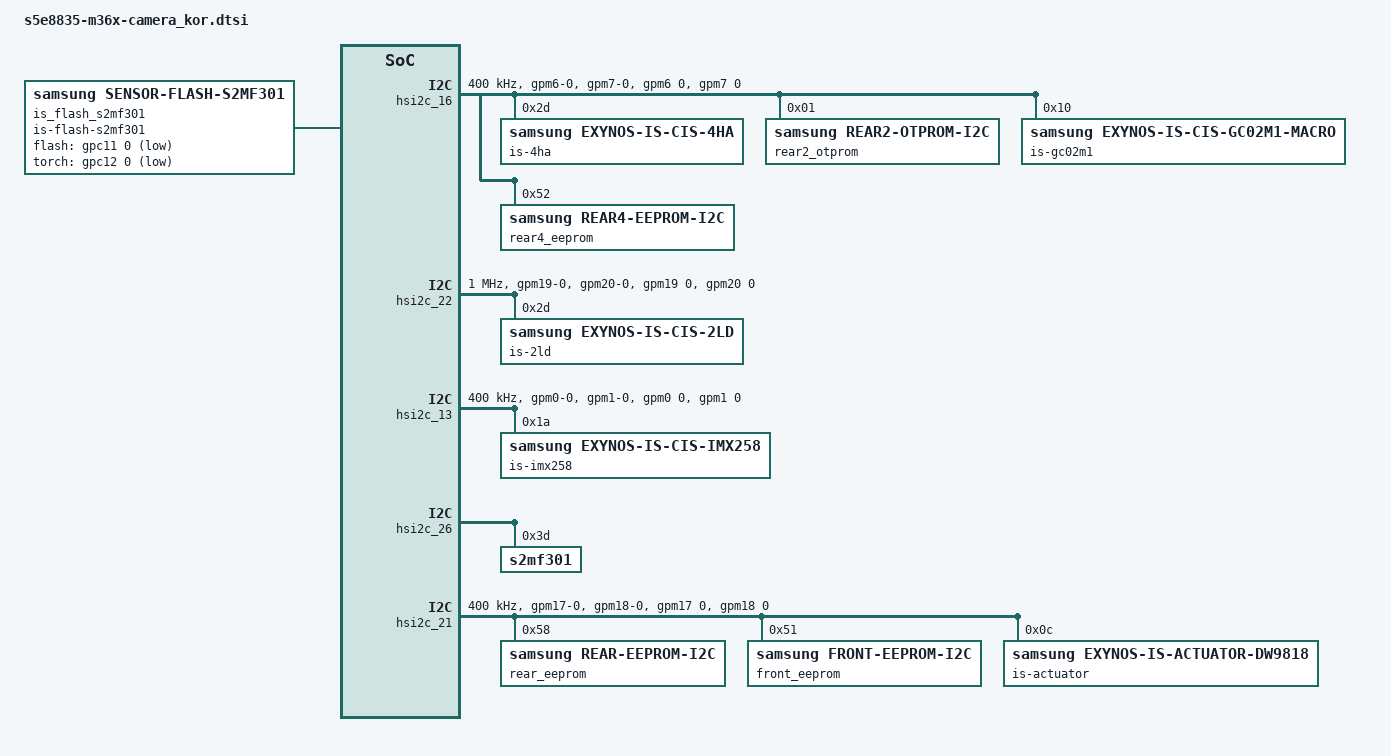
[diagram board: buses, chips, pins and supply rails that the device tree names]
/*
 * Samsung Exynos SoC series Pablo driver
 *
 * Copyright (c) 2024 Samsung Electronics Co., Ltd
 *
 * This program is free software; you can redistribute it and/or modify
 * it under the terms of the GNU General Public License version 2 as
 * published by the Free Software Foundation.
 */

#include <dt-bindings/camera/exynos_is_dt.h>
#include "module_2ld.dtsi"	/* Wide CAMERA */
#include "module_imx258.dtsi"	/* Front CAMERA */
#include "module_4ha.dtsi"	/* UW CAMERA */
#include "module_gc02m1.dtsi"	/* Macro CAMERA */

/ {
	fragment@camera {
		target-path = "/";
		__overlay__ {
			#address-cells = <2>;
			#size-cells = <1>;
			interrupt-parent = <&gic>;

			/* Wide CAMERA */
			is_sensor_2ld: is_sensor_2ld@5A {
				pinctrl-names = "pin0", "pin1", "pin2", "release";
				pinctrl-0 = <>;
				pinctrl-1 = <&sensor_mclk0_out>;
				pinctrl-2 = <&sensor_mclk0_fn>;
				pinctrl-3 = <>;

				/* board */
				position = <0>; /* Rear:0. Front:1, Tele:2 */
				id = <0>; /* is_sensor id */
				mclk_ch = <0>;
				sensor_i2c_ch = <0>; /* SENSOR_CONTROL_I2C0 */

				af {
					product_name = <33>; /* ACTUATOR_NAME_DW9818*/
					i2c_ch = <3>; /* SENSOR_CONTROL_I2C3 */
				};

				flash {
					product_name = <19>; /* S2MF301 */
				};

				preprocessor {
					product_name = <100>; /* NOTHING */
				};

				power_seq {
					scenario_normal_on {
						20 { pname = "VDD_VT_UW_MACRO_A2P8"; pin = <PIN_OUTPUT 1 0 1000>; gpio = <&gpm12 0 0x1>; share = <SRT_ACQUIRE SHARED_PIN1 1>; };
						30 { pname = "vdd_ldo22"; pin = <PIN_REGULATOR 1 1000>; share = <SRT_ACQUIRE SHARED_PIN0 1>; };
						35 { pname = "VDDIO_RCAM1_1P8"; pin = <PIN_OUTPUT 1 0>; gpio = <&s2mpu16_gpio 9 0x1>; };
					};

					scenario_vision_on {
						20 { pname = "VDD_VT_UW_MACRO_A2P8"; pin = <PIN_OUTPUT 1 0 1000>; gpio = <&gpm12 0 0x1>; share = <SRT_ACQUIRE SHARED_PIN1 1>; };
						30 { pname = "vdd_ldo22"; pin = <PIN_REGULATOR 1 1000>; share = <SRT_ACQUIRE SHARED_PIN0 1>; };
						35 { pname = "VDDIO_RCAM1_1P8"; pin = <PIN_OUTPUT 1 0>; gpio = <&s2mpu16_gpio 9 0x1>; };
					};

					scenario_normal_off {
						85 { pname = "VDDIO_RCAM1_1P8"; pin = <PIN_OUTPUT 0 0>; gpio = <&s2mpu16_gpio 9 0x1>; };
						90 { pname = "vdd_ldo22"; pin = <PIN_REGULATOR 0 0>; share = <SRT_RELEASE SHARED_PIN0 0>; };
						100 { pname = "VDD_VT_UW_MACRO_A2P8"; pin = <PIN_OUTPUT 0 1000>; gpio = <&gpm12 0 0x1>; share = <SRT_RELEASE SHARED_PIN1 0>; };
					};

					scenario_vision_off {
						85 { pname = "VDDIO_RCAM1_1P8"; pin = <PIN_OUTPUT 0 0>; gpio = <&s2mpu16_gpio 9 0x1>; };
						90 { pname = "vdd_ldo22"; pin = <PIN_REGULATOR 0 0>; share = <SRT_RELEASE SHARED_PIN0 0>; };
						100 { pname = "VDD_VT_UW_MACRO_A2P8"; pin = <PIN_OUTPUT 0 1000>; gpio = <&gpm12 0 0x1>; share = <SRT_RELEASE SHARED_PIN1 0>; };
					};

					scenario_retention_on {
						90 { pname = "vdd_ldo22"; pin = <PIN_REGULATOR 0 0>; share = <SRT_RELEASE SHARED_PIN0 0>; };
						100 { pname = "VDD_VT_UW_MACRO_A2P8"; pin = <PIN_OUTPUT 0 1000>; gpio = <&gpm12 0 0x1>; share = <SRT_RELEASE SHARED_PIN1 0>; };
					};

					scenario_read_rom_on {
						10 { pname = "VDD_VT_UW_MACRO_A2P8"; pin = <PIN_OUTPUT 1 0 1000>; gpio = <&gpm12 0 0x1>; share = <SRT_ACQUIRE SHARED_PIN1 1>; };
						20 { pname = "vdd_ldo22"; pin = <PIN_REGULATOR 1 1000>; share = <SRT_ACQUIRE SHARED_PIN0 1>; };
						25 { pname = "VDDIO_RCAM1_1P8"; pin = <PIN_OUTPUT 1 0>; gpio = <&s2mpu16_gpio 9 0x1>; };
					};

					scenario_read_rom_off {
						25 { pname = "VDDIO_RCAM1_1P8"; pin = <PIN_OUTPUT 0 0>; gpio = <&s2mpu16_gpio 9 0x1>; };
						30 { pname = "vdd_ldo22"; pin = <PIN_REGULATOR 0 0>; share = <SRT_RELEASE SHARED_PIN0 0>; };
						40 { pname = "VDD_VT_UW_MACRO_A2P8"; pin = <PIN_OUTPUT 0 1000>; gpio = <&gpm12 0 0x1>; share = <SRT_RELEASE SHARED_PIN1 0>; };
					};
				};
			};

			/* FRONT CAMERA */
			is_sensor_imx258: is_sensor_imx258@1A {
				pinctrl-names = "pin0", "pin1", "pin2", "release";
				pinctrl-0 = <>;
				pinctrl-1 = <&sensor_mclk2_out>;
				pinctrl-2 = <&sensor_mclk2_fn>;
				pinctrl-3 = <>;

				/* board */
				position = <1>;	/* Rear:0. Front:1. Rear_sub:2. Secure:3. */
				id = <1>; /* is_sensor id */
				mclk_ch = <2>;
				sensor_i2c_ch = <1>; /* SENSOR_CONTROL_I2C1 */

				power_seq {
					scenario_normal_on {
						20 { pname = "VDD_VT_UW_MACRO_A2P8"; pin = <PIN_OUTPUT 1 0 1000>; gpio = <&gpm12 0 0x1>; share = <SRT_ACQUIRE SHARED_PIN1 1>; };
						40 { pname = "vdd_ldo22"; pin = <PIN_REGULATOR 1 1000>; share = <SRT_ACQUIRE SHARED_PIN0 1>; };
					};

					scenario_normal_off {
						70 { pname = "vdd_ldo22"; pin = <PIN_REGULATOR 0 500>; share = <SRT_RELEASE SHARED_PIN0 0>; };
						90 { pname = "VDD_VT_UW_MACRO_A2P8"; pin = <PIN_OUTPUT 0 1000>; gpio = <&gpm12 0 0x1>; share = <SRT_RELEASE SHARED_PIN1 0>; };
					};

					scenario_vision_on {
						20 { pname = "VDD_VT_UW_MACRO_A2P8"; pin = <PIN_OUTPUT 1 0 1000>; gpio = <&gpm12 0 0x1>; share = <SRT_ACQUIRE SHARED_PIN1 1>; };
						40 { pname = "vdd_ldo22"; pin = <PIN_REGULATOR 1 1000>; share = <SRT_ACQUIRE SHARED_PIN0 1>; };
					};

					scenario_vision_off {
						70 { pname = "vdd_ldo22"; pin = <PIN_REGULATOR 0 500>; share = <SRT_RELEASE SHARED_PIN0 0>; };
						90 { pname = "VDD_VT_UW_MACRO_A2P8"; pin = <PIN_OUTPUT 0 1000>; gpio = <&gpm12 0 0x1>; share = <SRT_RELEASE SHARED_PIN1 0>; };
					};

					scenario_read_rom_on {
						10 { pname = "VDD_VT_UW_MACRO_A2P8"; pin = <PIN_OUTPUT 1 0 1000>; gpio = <&gpm12 0 0x1>; share = <SRT_ACQUIRE SHARED_PIN1 1>; };
						20 { pname = "vdd_ldo22"; pin = <PIN_REGULATOR 1 1000>; share = <SRT_ACQUIRE SHARED_PIN0 1>; };
					};

					scenario_read_rom_off {
						20 { pname = "vdd_ldo22"; pin = <PIN_REGULATOR 0 0>; share = <SRT_RELEASE SHARED_PIN0 0>; };
						30 { pname = "VDD_VT_UW_MACRO_A2P8"; pin = <PIN_OUTPUT 0 1000>; gpio = <&gpm12 0 0x1>; share = <SRT_RELEASE SHARED_PIN1 0>; };
					};
				};
			};

			/* UW CAMERA */
			is_sensor_4ha: is_sensor_4ha@2D {
				pinctrl-names = "pin0", "pin1", "pin2", "release";
				pinctrl-0 = <>;
				pinctrl-1 = <&sensor_mclk2_out>;
				pinctrl-2 = <&sensor_mclk2_fn>;
				pinctrl-3 = <>;

				/* board */
				position = <4>;	/* Rear:0. Front:1. Rear_sub:2. Secure:3. */
				id = <4>; /* is_sensor id */
				mclk_ch = <2>;
				sensor_i2c_ch = <2>; /* SENSOR_CONTROL_I2C2 */

				power_seq {
					scenario_normal_on {
						20 { pname = "VDD_VT_UW_MACRO_A2P8"; pin = <PIN_OUTPUT 1 0 2800000>; gpio = <&gpm12 0 0x1>; share = <SRT_ACQUIRE SHARED_PIN1 1>; };
						40 { pname = "vdd_ldo22"; pin = <PIN_REGULATOR 1 0>; share = <SRT_ACQUIRE SHARED_PIN0 1>; };
					};

					scenario_normal_off {
						70 { pname = "vdd_ldo22"; pin = <PIN_REGULATOR 0 500>; share = <SRT_RELEASE SHARED_PIN0 0>; };
						90 { pname = "VDD_VT_UW_MACRO_A2P8"; pin = <PIN_OUTPUT 0 0>; gpio = <&gpm12 0 0x1>; share = <SRT_RELEASE SHARED_PIN1 0>; };
					};

					scenario_vision_on {
						20 { pname = "VDD_VT_UW_MACRO_A2P8"; pin = <PIN_OUTPUT 1 0 2800000>; gpio = <&gpm12 0 0x1>; share = <SRT_ACQUIRE SHARED_PIN1 1>; };
						40 { pname = "vdd_ldo22"; pin = <PIN_REGULATOR 1 0>; share = <SRT_ACQUIRE SHARED_PIN0 1>; };
					};

					scenario_vision_off {
						70 { pname = "vdd_ldo22"; pin = <PIN_REGULATOR 0 500>; share = <SRT_RELEASE SHARED_PIN0 0>; };
						90 { pname = "VDD_VT_UW_MACRO_A2P8"; pin = <PIN_OUTPUT 0 0>; gpio = <&gpm12 0 0x1>; share = <SRT_RELEASE SHARED_PIN1 0>; };
					};

					scenario_read_rom_on {
						20 { pname = "VDD_VT_UW_MACRO_A2P8"; pin = <PIN_OUTPUT 1 0 2800000>; gpio = <&gpm12 0 0x1>; share = <SRT_ACQUIRE SHARED_PIN1 1>; };
						40 { pname = "vdd_ldo22"; pin = <PIN_REGULATOR 1 0>; share = <SRT_ACQUIRE SHARED_PIN0 1>; };
					};

					scenario_read_rom_off {
						70 { pname = "vdd_ldo22"; pin = <PIN_REGULATOR 0 500>; share = <SRT_RELEASE SHARED_PIN0 0>; };
						90 { pname = "VDD_VT_UW_MACRO_A2P8"; pin = <PIN_OUTPUT 0 0>; gpio = <&gpm12 0 0x1>; share = <SRT_RELEASE SHARED_PIN1 0>; };
					};
				};
			};

			/* MACRO CAMERA */
			is_sensor_gc02m1_macro: is_sensor_gc02m1_macro@20 {
				pinctrl-names = "pin0", "pin1", "pin2", "release";
				pinctrl-0 = <>;
				pinctrl-1 = <&sensor_mclk1_out>;
				pinctrl-2 = <&sensor_mclk1_fn>;
				pinctrl-3 = <>;

				/* board */
				position = <6>;	/* Rear:0. Front:1. Rear_sub:2. Secure:3. */
				id = <3>; /* is_sensor id */
				mclk_ch = <1>;
				sensor_i2c_ch = <2>; /* SENSOR_CONTROL_I2C2 */

				flash {
					product_name = <19>; /* S2MF301 */
				};

				power_seq {
					scenario_normal_on {
						20 { pname = "vdd_ldo22"; pin = <PIN_REGULATOR 1 1000>; share = <SRT_ACQUIRE SHARED_PIN0 1>; };
						40 { pname = "VDD_VT_UW_MACRO_A2P8"; pin = <PIN_OUTPUT 1 0>; gpio = <&gpm12 0 0x1>; share = <SRT_ACQUIRE SHARED_PIN1 1>; };
					};

					scenario_normal_off {
						30 { pname = "vdd_ldo22"; pin = <PIN_REGULATOR 0 500>; share = <SRT_RELEASE SHARED_PIN0 0>; };
						50 { pname = "VDD_VT_UW_MACRO_A2P8"; pin = <PIN_OUTPUT 0 0>; gpio = <&gpm12 0 0x1>; share = <SRT_RELEASE SHARED_PIN1 0>; };
					};

					scenario_vision_on {
						20 { pname = "vdd_ldo22"; pin = <PIN_REGULATOR 1 1000>; share = <SRT_ACQUIRE SHARED_PIN0 1>; };
						40 { pname = "VDD_VT_UW_MACRO_A2P8"; pin = <PIN_OUTPUT 1 0>; gpio = <&gpm12 0 0x1>; share = <SRT_ACQUIRE SHARED_PIN1 1>; };
					};

					scenario_vision_off {
						30 { pname = "vdd_ldo22"; pin = <PIN_REGULATOR 0 500>; share = <SRT_RELEASE SHARED_PIN0 0>; };
						50 { pname = "VDD_VT_UW_MACRO_A2P8"; pin = <PIN_OUTPUT 0 0>; gpio = <&gpm12 0 0x1>; share = <SRT_RELEASE SHARED_PIN1 0>; };
					};

					scenario_read_rom_on {
						10 { pname = "vdd_ldo22"; pin = <PIN_REGULATOR 1 1000>; share = <SRT_ACQUIRE SHARED_PIN0 1>; };
						20 { pname = "VDD_VT_UW_MACRO_A2P8"; pin = <PIN_OUTPUT 1 0>; gpio = <&gpm12 0 0x1>; share = <SRT_ACQUIRE SHARED_PIN1 1>; };
					};

					scenario_read_rom_off {
						20 { pname = "vdd_ldo22"; pin = <PIN_REGULATOR 0 500>; share = <SRT_RELEASE SHARED_PIN0 0>; };
						30 { pname = "VDD_VT_UW_MACRO_A2P8"; pin = <PIN_OUTPUT 0 0>; gpio = <&gpm12 0 0x1>; share = <SRT_RELEASE SHARED_PIN1 0>; };
					};
				};
			};

			is_flash_s2mf301: is-flash-s2mf301@0 {
				compatible = "samsung,sensor-flash-s2mf301";
				sensor-module = <&is_sensor_2ld>,<&is_sensor_gc02m1_macro>;
				id = <0 3>;
				led_ch = <1>;
				status = "okay";
				flash-gpio = <&gpc11 0 0x1>;
				torch-gpio = <&gpc12 0 0x1>;
			};

			/* dphy_setfile settings taken from A54x */
			dphy_setfile_m35x_1: dphy-setfile_m35x_1@00 {
				comm {
					/* bias */
					0  = <0x1000 0 32 0x00000010 IDX_BIA_VAL 0>; /* M_BIAS_CON0 */
					1  = <0x1004 0 32 0x00000110 IDX_BIA_VAL 0>; /* M_BIAS_CON1 */
					2  = <0x1008 0 32 0x00003223 IDX_BIA_VAL 0>; /* M_BIAS_CON2 */
					3  = <0x1010 0 32 0x00000200 IDX_BIA_VAL 0>; /* M_BIAS_CON4 */
					4  = <0x1114 0 32 0x00000500 IDX_BIA_VAL 0>; /* M_PLL_CON5 */
					5  = <0x1118 0 32 0x00000000 IDX_BIA_VAL 0>; /* M_PLL_CON6 */
					6  = <0x111C 0 32 0x000028A0 IDX_BIA_VAL 0>; /* M_PLL_CON7 */
					7  = <0x1120 0 32 0x00001450 IDX_BIA_VAL 0>; /* M_PLL_CON8 */
					8  = <0x1124 0 32 0x00001208 IDX_BIA_VAL 0>; /* M_PLL_CON9 */

					/* Clock lane */
					9 = <0x0004 0 32 0x000028A0 IDX_FIX_VAL 0>; /* SC_GNR_CON1 */
					10 = <0x0008 0 32 0x00000001 IDX_FIX_VAL 0>; /* SC_ANA_CON0 */
					11 = <0x000C 0 32 0x0000E840 IDX_FIX_VAL 0>; /* SC_ANA_CON1 */
					12 = <0x0010 0 32 0x00000002 IDX_FIX_VAL 0>; /* SC_ANA_CON2 */
					13 = <0x0014 0 32 0x00008600 IDX_FIX_VAL 0>; /* SC_ANA_CON3 */
					14 = <0x0018 0 32 0x00004000 IDX_FIX_VAL 0>; /* SC_ANA_CON4 */
					15 = <0x0030 0 32 0x00000308 IDX_FIX_VAL 0>; /* SC_TIME_CON0 */
					16 = <0x0040 0 32 0x00000000 IDX_FIX_VAL 0>; /* SC_DATA_CON0 */

					/* Enable should be set at last */
					17 = <0x0000 0 32 0x00000001 IDX_FIX_VAL 0>; /* SC_GNR_CON0 */
				};

				lane {
					0  = <0x0004 0 32 0x000028A0 IDX_FIX_VAL 4>; /* SD_GNR_CON1 */
					1  = <0x0008 0 32 0x00000001 IDX_FIX_VAL 4>; /* SD_ANA_CON0 */
					2  = <0x000C 0 32 0x0000E840 IDX_FIX_VAL 4>; /* SD_ANA_CON1 */
					3  = <0x0010 0 32 0x00000002 IDX_FIX_VAL 4>; /* SD_ANA_CON2 */
					4  = <0x0010 8  2 0x00000000 IDX_SKW_DLY 4>; /* SD_ANA_CON2 */
					5  = <0x0014 0 32 0x00008600 IDX_FIX_VAL 4>; /* SD_ANA_CON3 */
					6  = <0x0018 0 32 0x00004000 IDX_FIX_VAL 4>; /* SD_ANA_CON4 */
					7  = <0x0030 0  8 0x00000000 IDX_STL_VAL 4>; /* SD_TIME_CON0 */
					8  = <0x0030 8  1 0x00000000 IDX_STL_CLK 4>; /* SD_TIME_CON0 */
					9  = <0x0034 0 32 0x00000003 IDX_FIX_VAL 4>; /* SD_TIME_CON1 */
					10 = <0x0040 0  1 0x00000001 IDX_SKW_CAL 4>; /* SD_DESKEW_CON0 */
					11 = <0x0050 0 32 0x0000081A IDX_FIX_VAL 4>; /* SD_DESKEW_CON4 */

					/* Enable should be set at last */
					12 = <0x0000 0 32 0x00000001 IDX_FIX_VAL 4>;/* SD_GNR_CON0 */
				};
			};

			dphy_setfile_m35x_2: dphy-setfile_m35x_2@00 {
				comm {
					/* bias */
					0  = <0x1000 0 32 0x00000010 IDX_BIA_VAL 0>; /* M_BIAS_CON0 */
					1  = <0x1004 0 32 0x00000110 IDX_BIA_VAL 0>; /* M_BIAS_CON1 */
					2  = <0x1008 0 32 0x00003223 IDX_BIA_VAL 0>; /* M_BIAS_CON2 */
					3  = <0x1010 0 32 0x00000200 IDX_BIA_VAL 0>; /* M_BIAS_CON4 */
					4  = <0x1114 0 32 0x00000500 IDX_BIA_VAL 0>; /* M_PLL_CON5 */
					5  = <0x1118 0 32 0x00000000 IDX_BIA_VAL 0>; /* M_PLL_CON6 */
					6  = <0x111C 0 32 0x000028A0 IDX_BIA_VAL 0>; /* M_PLL_CON7 */
					7  = <0x1120 0 32 0x00001450 IDX_BIA_VAL 0>; /* M_PLL_CON8 */
					8  = <0x1124 0 32 0x00001208 IDX_BIA_VAL 0>; /* M_PLL_CON9 */

					/* Clock lane */
					9 = <0x0004 0 32 0x000028A0 IDX_FIX_VAL 0>; /* SC_GNR_CON1 */
					10 = <0x0008 0 32 0x00000001 IDX_FIX_VAL 0>; /* SC_ANA_CON0 */
					11 = <0x000C 0 32 0x0000E840 IDX_FIX_VAL 0>; /* SC_ANA_CON1 */
					12 = <0x0010 0 32 0x00000002 IDX_FIX_VAL 0>; /* SC_ANA_CON2 */
					13 = <0x0014 0 32 0x00008600 IDX_FIX_VAL 0>; /* SC_ANA_CON3 */
					14 = <0x0018 0 32 0x00004000 IDX_FIX_VAL 0>; /* SC_ANA_CON4 */
					15 = <0x0030 0 32 0x00000308 IDX_FIX_VAL 0>; /* SC_TIME_CON0 */
					16 = <0x0040 0 32 0x00000000 IDX_FIX_VAL 0>; /* SC_DATA_CON0 */

					/* Enable should be set at last */
					17 = <0x0000 0 32 0x00000001 IDX_FIX_VAL 0>; /* SC_GNR_CON0 */
				};
			};

			dphy_setfile_m54x_4ha: dphy-setfile_m54x_4ha@00 {
				comm {
					/* bias */
					0  = <0x1000 0 32 0x00000010 IDX_BIA_VAL 0>; /* M_BIAS_CON0 */
					1  = <0x1004 0 32 0x00000110 IDX_BIA_VAL 0>; /* M_BIAS_CON1 */
					2  = <0x1008 0 32 0x00003223 IDX_BIA_VAL 0>; /* M_BIAS_CON2 */
					3  = <0x1010 0 32 0x00000200 IDX_BIA_VAL 0>; /* M_BIAS_CON4 */
					4  = <0x1114 0 32 0x00000500 IDX_BIA_VAL 0>; /* M_PLL_CON5 */
					5  = <0x1118 0 32 0x00000000 IDX_BIA_VAL 0>; /* M_PLL_CON6 */
					6  = <0x111C 0 32 0x000028A0 IDX_BIA_VAL 0>; /* M_PLL_CON7 */
					7  = <0x1120 0 32 0x00001450 IDX_BIA_VAL 0>; /* M_PLL_CON8 */
					8  = <0x1124 0 32 0x00001208 IDX_BIA_VAL 0>; /* M_PLL_CON9 */

					/* Clock lane */
					9 = <0x0004 0 32 0x000028A0 IDX_FIX_VAL 0>; /* SC_GNR_CON1 */
					10 = <0x0008 0 32 0x00000001 IDX_FIX_VAL 0>; /* SC_ANA_CON0 */
					11 = <0x000C 0 32 0x0000E840 IDX_FIX_VAL 0>; /* SC_ANA_CON1 */
					12 = <0x0010 0 32 0x00000002 IDX_FIX_VAL 0>; /* SC_ANA_CON2 */
					13 = <0x0014 0 32 0x00008600 IDX_FIX_VAL 0>; /* SC_ANA_CON3 */
					14 = <0x0018 0 32 0x00004000 IDX_FIX_VAL 0>; /* SC_ANA_CON4 */
					15 = <0x0030 0 32 0x00000308 IDX_FIX_VAL 0>; /* SC_TIME_CON0 */
					16 = <0x0040 0 32 0x00000000 IDX_FIX_VAL 0>; /* SC_DATA_CON0 */

					/* Enable should be set at last */
					17 = <0x0000 0 32 0x00000001 IDX_FIX_VAL 0>; /* SC_GNR_CON0 */
				};

				lane {
					0  = <0x0004 0 32 0x000028A0 IDX_FIX_VAL 4>; /* SD_GNR_CON1 */
					1  = <0x0008 0 32 0x00000001 IDX_FIX_VAL 4>; /* SD_ANA_CON0 */
					2  = <0x000C 0 32 0x0000E840 IDX_FIX_VAL 4>; /* SD_ANA_CON1 */
					3  = <0x0010 0 32 0x00000002 IDX_FIX_VAL 4>; /* SD_ANA_CON2 */
					4  = <0x0010 8  2 0x00000000 IDX_SKW_DLY 4>; /* SD_ANA_CON2 */
					5  = <0x0014 0 32 0x00008600 IDX_FIX_VAL 4>; /* SD_ANA_CON3 */
					6  = <0x0018 0 32 0x00004000 IDX_FIX_VAL 4>; /* SD_ANA_CON4 */
					7  = <0x0030 0  8 0x00000000 IDX_STL_VAL 4>; /* SD_TIME_CON0 */
					8  = <0x0030 8  1 0x00000000 IDX_STL_CLK 4>; /* SD_TIME_CON0 */
					9  = <0x0034 0 32 0x00000003 IDX_FIX_VAL 4>; /* SD_TIME_CON1 */
					10 = <0x0040 0  1 0x00000001 IDX_SKW_CAL 4>; /* SD_DESKEW_CON0 */
					11 = <0x0050 0 32 0x0000081A IDX_FIX_VAL 4>; /* SD_DESKEW_CON4 */

					/* Enable should be set at last */
					12 = <0x0000 0 32 0x00000001 IDX_FIX_VAL 4>;/* SD_GNR_CON0 */
				};
			};

			/* Wide CAMERA */
			is_sensor0: is_sensor0@15030000 {
				#address-cells = <1>;
				#size-cells = <1>;
				scenario = <SENSOR_SCENARIO_NORMAL>;	/* Normal, Vision, OIS etc */
				id = <0>;
				csi_ch = <0>;
				status = "okay";
				use_cphy = <1>;

				interrupts = <0 INTREQ__CSIS0 IRQ_TYPE_LEVEL_HIGH>; /*MIPI-CSI0 */
				interrupt-names = "csi";
				phys = <&mipi_phy_csis0_m0s4s4s4s4_s22 0>;
				phy_setfile = <&dcphy_setfile_cphy>, <&dcphy_setfile_cphy>;
				phy_tune_default_mode = "4032 3024 30";
			};

			/* FRONT CAMERA */
			is_sensor1: is_sensor1@15040000 {
				#address-cells = <1>;
				#size-cells = <1>;
				reg = <0x0 0x15050000 0x1000>, /* MIPI-CSI2 */
						<0x0 0x150F0000 0x10000>; /* PHY: M0S4S4S4S4_S22 */
				scenario = <SENSOR_SCENARIO_NORMAL>;	/* Normal, Vision, OIS etc */
				id = <1>;
				csi_ch = <2>;
				status = "okay";
				use_cphy = <0>;

				interrupts = <0 INTREQ__CSIS2 IRQ_TYPE_LEVEL_HIGH>; /* MIPI-CSI2 */
				interrupt-names = "csi";
				phys = <&mipi_phy_csis2_m0s4s4s4s4_s22 0>;
				phy_setfile = <&dphy_setfile_m35x_1>, <&dphy_setfile_m35x_2>;
				phy_tune_default_mode = "4128 3096 30";
			};

			/* Macro CAMERA */
			is_sensor4: is_sensor4@15070000 {
				#address-cells = <1>;
				#size-cells = <1>;
				reg = <0x0 0x15060000 0x1000>, /* MIPI-CSI3 */
						<0x0 0x150F0000 0x10000>; /* PHY: M0S4S4S4S4S2S1 */
				scenario = <SENSOR_SCENARIO_NORMAL>;	/* Normal, Vision, OIS etc */
				id = <3>;
				csi_ch = <3>;
				status = "okay";
				use_cphy = <0>;

				interrupts = <0 INTREQ__CSIS3 IRQ_TYPE_LEVEL_HIGH>; /* MIPI-CSI3 */
				phys = <&mipi_phy_csis3_m0s4s4s4s4_s22 0>;
				phy_setfile = <&dphy_setfile>;
				phy_tune_default_mode = "1600 1200 30";
			};

			/* UW CAMERA */
			is_sensor2: is_sensor2@15050000 {
				#address-cells = <1>;
				#size-cells = <1>;
				reg = <0x0 0x15040000 0x1000>, /* MIPI-CSI1 */
					<0x0 0x150F0000 0x10000>; /* PHY: M0S4S4S4S4_S22 */
				scenario = <SENSOR_SCENARIO_NORMAL>;	/* Normal, Vision, OIS etc */
				id = <4>;
				csi_ch = <1>;
				status = "okay";

				interrupts = <0 INTREQ__CSIS1 IRQ_TYPE_LEVEL_HIGH>; /* MIPI-CSI1 */
				interrupt-names = "csi";
				phys = <&mipi_phy_csis1_m0s4s4s4s4_s22 0>;
				phy_setfile = <&dphy_setfile_m54x_4ha>;
				phy_tune_default_mode = "3264 2448 30";
			};

			is_sensor3: is_sensor3@15060000 {
				status = "disabled";
			};
		}; /* end of __overlay__ */
	}; /* end of fragment */
}; /* end of root */

/*
 * [Pin control reference]
 * samsung,pin-function = <0: Input, 1: Output, 2~3: Func>;
 * samsung,pin-pud = <0: NP, 1: PD, 3: PU(2KOhm), 5: PU(0.8KOhm)>;
 * samsung,pin-drv = <0: x1, 1: x2, 2: x3, 3: x4>;
 * samsung,pin-con-pdn = <0: Output0, 1: Output1, 2: Input, 3:Prev>;
 * samsung,pin-pud-pdn = <0: NP, 1: PD, 3: PU>;
 */
 
/* GPIO_PERI */
&pinctrl_1 {
	/* FRONT i2c1 */
	hsi2c13_bus: hsi2c13-bus {
			samsung,pins = "gpm0-0", "gpm1-0";
			samsung,pin-function = <2>;
			samsung,pin-pud = <0>;
			samsung,pin-drv = <0>;
	};

	hsi2c13_bus_in: hsi2c13-bus-in {
			samsung,pins = "gpm0-0", "gpm1-0";
			samsung,pin-function = <0>;
			samsung,pin-pud = <0>;
			samsung,pin-drv = <0>;
	};

	/* UW,MACRO : i2c2 */
	hsi2c16_bus: hsi2c16-bus {
			samsung,pins = "gpm6-0", "gpm7-0";
			samsung,pin-function = <3>;
			samsung,pin-pud = <0>;
			samsung,pin-drv = <0>;
	};

	hsi2c16_bus_in: hsi2c16-bus-in {
			samsung,pins = "gpm6-0", "gpm7-0";
			samsung,pin-function = <0>;
			samsung,pin-pud = <0>;
			samsung,pin-drv = <0>;
	};

	/* REAR Wide : i2c0 */
	hsi2c22_bus: hsi2c22-bus {
			samsung,pins = "gpm19-0", "gpm20-0";
			samsung,pin-function = <3>;
			samsung,pin-pud = <0>;
			samsung,pin-drv = <0>;
	};

	hsi2c22_bus_in: hsi2c22-bus-in {
			samsung,pins = "gpm19-0", "gpm20-0";
			samsung,pin-function = <0>;
			samsung,pin-pud = <0>;
			samsung,pin-drv = <0>;
	};

	/* Wide AF,EEP i2c3 */
	hsi2c21_bus: hsi2c21-bus {
			samsung,pins = "gpm17-0", "gpm18-0";
			samsung,pin-function = <2>;
			samsung,pin-pud = <0>;
			samsung,pin-drv = <0>;
	};

	hsi2c21_bus_in: hsi2c21-bus-in {
			samsung,pins = "gpm17-0", "gpm18-0";
			samsung,pin-function = <0>;
			samsung,pin-pud = <0>;
			samsung,pin-drv = <0>;
	};

	cam_flash_en: cam-flash-en {
		samsung,pins = "gpc11-0";
		samsung,pin-function = <1>;
		samsung,pin-con-pdn= <3>;
	};

	cam_torch_en: cam-torch-en {
		samsung,pins = "gpc12-0";
		samsung,pin-function = <1>;
		samsung,pin-con-pdn= <3>;
	};
};

&hsi2c_16 {
	#address-cells = <1>;
	#size-cells = <0>;
	gpios = <&gpm6 0 0 &gpm7 0 0>;
	status = "okay";
	clock-frequency = <400000>;
	samsung,reset-before-trans;

	pinctrl-names = "default","on_i2c","off_i2c";
	pinctrl-0 = <&hsi2c16_bus_in>;
	pinctrl-1 = <&hsi2c16_bus>;
	pinctrl-2 = <&hsi2c16_bus_in>;

	is-4ha@2D {
		compatible = "samsung,exynos-is-cis-4ha";
		sensor-module = <&is_sensor_4ha>;
		reg = <0x2D>; /* 1 bit right shift */
		id = <4>; /* matching is_sensor id */
		setfile = "setB";
		status = "okay";
		rev_reg = <0x0000 2 0x48AB>;
		sensor_f_number = <220>;	/* f number 2.2 */
	};

	rear2_otprom@2D { /* UW OTPROM */
		compatible = "samsung,rear2-otprom-i2c";
		reg = <0x01>;

		rom_power_position = <4>;
		rom_size = <0x1AA0>;
		cal_map_es_version = <1>;
		camera_module_es_version = "A";
		/* skip_cal_loading; */

		/* 20220824_A34 5G_CAM2(UW_8M_4HA)_OTP_Rear_Cal map V008.001_QC_LSI_MTK_ê³µìš©_Map */
		/* 0 header */
		header_crc_check_list = <0x0000 0x0051 0x0052>;
		/* 0 module */
		crc_check_list = <0x0056 0x0477 0x0478>;
		/* Master */
		rom_header_version_start_addr = <0x000A>;
		rom_header_cal_data_start_addr = <0x0056>;
		rom_header_cal_map_ver_start_addr = <0x0016>;
		rom_header_project_name_start_addr = <0x1E>;
		rom_header_module_id_addr = <0x0036>; /* 0x0030 + reserved bytes */
		rom_header_sensor_id_addr = <0x0040>;
		rom_awb_master_addr = <0x0060>;

		/* standard cal */
		use_standard_cal;
		rom_standard_cal_start_addr = <0x0060>;
		rom_standard_cal_end_addr = <0x0A43>;
		rom_standard_cal_sec2lsi_end_addr = <0x1A5F>;
		rom_awb_start_addr = <0x0060>;
		rom_awb_end_addr = <0x0067>;
		rom_shading_start_addr = <0x006A>;
		rom_shading_end_addr = <0x0462>;
		rom_awb_sec2lsi_start_addr = <0x0060>;
		rom_awb_sec2lsi_end_addr = <0x0067>;
		rom_awb_sec2lsi_checksum_addr = <0x006C>;
		rom_awb_sec2lsi_checksum_len = <0xC>;
		rom_shading_sec2lsi_start_addr = <0x0070>;
		rom_shading_sec2lsi_end_addr = <0x1A57>;
		rom_shading_sec2lsi_checksum_addr = <0x1A5C>;
		rom_shading_sec2lsi_checksum_len = <0x19EC>;
	};

	is-gc02m1@20 {
		compatible = "samsung,exynos-is-cis-gc02m1-macro";
		sensor-module = <&is_sensor_gc02m1_macro>;
		reg = <0x10>; /* 1 bit right shift */
		id = <3>; /* matching is_sensor id */
		setfile = "setA";
		status = "okay";
		//rev_reg = <0x0002 2 0xA202>;
		sensor_f_number = <240>;	/* f number 2.4 */
	};

	rear4_eeprom@A4 { /* Macro eeprom */
		compatible = "samsung,rear4-eeprom-i2c";
		reg = <0x52>;

		rom_power_position = <6>;
		rom_size = <0x1D4A>;
		cal_map_es_version = <1>;
		camera_module_es_version = "A";
		/* skip_cal_loading; */

		/* 0 header */
		header_crc_check_list = <0x0000 0x00FB 0x00FC>;
		/* 0 module */
		crc_check_list = <  0x0100 0x010B 0X010C
			0x0110 0x011B 0x011C
			0x0120 0x051B 0x051C >;
		/* Master */
		rom_header_version_start_addr = <0x5E>;
		rom_header_cal_data_start_addr = <0x00>;
		rom_header_cal_map_ver_start_addr = <0x88>;
		rom_header_project_name_start_addr = <0x90>;
		rom_header_module_id_addr = <0xAE>;
		rom_header_sensor_id_addr = <0xB8>;
		rom_awb_master_addr = <0x0110>;

		/* standard cal */
		use_standard_cal;
		rom_standard_cal_start_addr = <0x0100>;
		rom_standard_cal_end_addr = <0x051F>;
		rom_standard_cal_sec2lsi_end_addr = <0x1B0F>;
		rom_awb_start_addr = <0x0110>;
		rom_awb_end_addr = <0x0117>;
		rom_shading_start_addr = <0x0120>;
		rom_shading_end_addr = <0x0518>;
		rom_factory_start_addr = <0x0520>;
		rom_factory_end_addr = <0x0759>;

		rom_awb_sec2lsi_start_addr = <0x0110>;
		rom_awb_sec2lsi_end_addr = <0x0117>;
		rom_awb_sec2lsi_checksum_addr = <0x011C>;
		rom_awb_sec2lsi_checksum_len = <0xC>;
		rom_shading_sec2lsi_start_addr = <0x0120>;
		rom_shading_sec2lsi_end_addr = <0x1B07>;
		rom_shading_sec2lsi_checksum_addr = <0x1B0C>;
		rom_shading_sec2lsi_checksum_len = <0x19EC>;
		rom_factory_sec2lsi_start_addr = <0x1B10>;
	};
};

&hsi2c_22 {
	#address-cells = <1>;
	#size-cells = <0>;
	gpios = <&gpm19 0 0 &gpm20 0 0>;
	status = "okay";
	clock-frequency = <1000000>;
	samsung,reset-before-trans;
	samsung,fast-plus-mode;

	pinctrl-names = "default","on_i2c","off_i2c";
	pinctrl-0 = <&hsi2c22_bus_in>;
	pinctrl-1 = <&hsi2c22_bus>;
	pinctrl-2 = <&hsi2c22_bus_in>;

	is-2ld@5A {
		compatible = "samsung,exynos-is-cis-2ld";
		sensor-module = <&is_sensor_2ld>;
		reg = <0x2D>; /* 1 bit right shift */
		id = <0>; /* matching is_sensor id */
		setfile = "setA";
		status = "okay";
		rev_reg = <0x0002 2 0xA301>;
		//vendor_use_adaptive_mipi;
		sensor_f_number = <180>;	/* f number 1.8 */
	};
};

&hsi2c_13 {
	#address-cells = <1>;
	#size-cells = <0>;
	gpios = <&gpm0 0 0 &gpm1 0 0>;
	status = "okay";
	clock-frequency = <400000>;
	samsung,reset-before-trans;

	pinctrl-names = "default","on_i2c","off_i2c";
	pinctrl-0 = <&hsi2c13_bus_in>;
	pinctrl-1 = <&hsi2c13_bus>;
	pinctrl-2 = <&hsi2c13_bus_in>;

	is-imx258@1A {
		compatible = "samsung,exynos-is-cis-imx258";
		sensor-module = <&is_sensor_imx258>;
		reg = <0x1A>; /* 1 bit right shift */
		id = <1>; /* matching is_sensor id */
		setfile = "setB";
		status = "okay";
		rev_reg = <0x0002 1 0xB0>;
		sensor_f_number = <220>;	/* f number 2.2 */
		vendor_use_adaptive_mipi;
	};
};

&hsi2c_26 {
/* FLASH-LED: LEDS-S2MF301 */
		s2mf301@3D {
		reg = <0x3D>;
		flash_led {
			default_current = <50>;
			max_current = <200>;
			default_timer = <0>;
			flash-gpio = <&gpc11 0 0x1>;
			torch-gpio = <&gpc12 0 0x1>;

			flash_current = <1250>;
			preflash_current = <200>;
			torch_current = <50 80 130 170 210>;
			movie_current = <200>;
			factory_torch_current = <250>;
			factory_flash_current = <250>;
			flashlight_current = <50 80 130 170 210>;
			status = "okay";
		};
	};
};

&hsi2c_21 {
	#address-cells = <1>;
	#size-cells = <0>;
	gpios = <&gpm17 0 0 &gpm18 0 0>;
	status = "okay";
	clock-frequency = <400000>;
	samsung,reset-before-trans;

	pinctrl-names = "default","on_i2c","off_i2c";
	pinctrl-0 = <&hsi2c21_bus_in>;
	pinctrl-1 = <&hsi2c21_bus>;
	pinctrl-2 = <&hsi2c21_bus_in>;

	rear_eeprom@B0 { /* Rear Wide eeprom */
		compatible = "samsung,rear-eeprom-i2c";
		reg = <0x58>;

		rom_power_position = <0>;
		rom_size = <0x3A9A>;
		cal_map_es_version = <1>;
		camera_module_es_version = "A";
		/* skip_cal_loading; */
		/* 0 header */
		header_crc_check_list = <0x0000 0x00FB 0x00FC>;
		crc_check_list = <0x0A50 0x0A9B 0x0A9C
						0x1E60 0x1E7B 0x1E7C
						0x1E80 0x227B 0x227C >;
		/* Master */
		rom_header_version_start_addr = <0x6E>;
		rom_header_cal_data_start_addr = <0x00>;
		rom_header_cal_map_ver_start_addr = <0x90>;
		rom_header_project_name_start_addr = <0x98>;
		rom_header_module_id_addr = <0xB6>;
		rom_header_sensor_id_addr = <0xC0>;
		rom_awb_master_addr = <0x1E60>;
		rom_af_cal_addr = <0x0A5C 0x0A50>;

		use_standard_cal;
		rom_standard_cal_start_addr = <0x0100>;
		rom_standard_cal_end_addr = <0x227F>;
		rom_standard_cal_sec2lsi_end_addr = <0x385F>;
		rom_awb_start_addr = <0x1E60>;
		rom_awb_end_addr = <0x1E67>;
		rom_shading_start_addr = <0x1E80>;
		rom_shading_end_addr = <0x2278>;
		rom_factory_start_addr = <0x2280>;
		rom_factory_end_addr = <0x24B9>;

		rom_awb_sec2lsi_start_addr = <0x1E60>;
		rom_awb_sec2lsi_end_addr = <0x1E67>;
		rom_awb_sec2lsi_checksum_addr = <0x1E6C>;
		rom_awb_sec2lsi_checksum_len = <0xC>;
		rom_shading_sec2lsi_start_addr = <0x1E70>;
		rom_shading_sec2lsi_end_addr = <0x3857>;
		rom_shading_sec2lsi_checksum_addr = <0x385C>;
		rom_shading_sec2lsi_checksum_len = <0x19EC>;
		rom_factory_sec2lsi_start_addr = <0x3860>;
	};

	front_eeprom@A2 { /* Front EEPROM */
		compatible = "samsung,front-eeprom-i2c";
		reg = <0x51>;
		rom_power_position = <1>;
		rom_size = <0x1C84>;
		cal_map_es_version = <1>;
		camera_module_es_version = "A";
		/* skip_cal_loading; */

		/* 0 header */
		header_crc_check_list = <0x0000 0x0051 0x0052>;
		/* 0 cross-talk */
		/* 1 standard cal */
		crc_check_list = <0x0056 0x0477 0x0478>;
		/* Master */
		rom_header_version_start_addr = <0x0A>;
		rom_header_cal_data_start_addr = <0x00>;
		rom_header_cal_map_ver_start_addr = <0x16>;
		rom_header_project_name_start_addr = <0x1E>;
		rom_header_module_id_addr = <0x36>; /* 0x28 + reserved bytes */
		rom_header_sensor_id_addr = <0x40>;
		rom_awb_master_addr = <0x0064>;

		/* standard cal */
		use_standard_cal;
		rom_standard_cal_start_addr = <0x0056>;
		rom_standard_cal_end_addr = <0x047B>;
		rom_standard_cal_sec2lsi_end_addr = <0x1A63>;
		rom_awb_start_addr = <0x0064>;
		rom_awb_end_addr = <0x006B>;
		rom_shading_start_addr = <0x006E>;
		rom_shading_end_addr = <0x0466>;
		rom_factory_start_addr = <0x047C>;
		rom_factory_end_addr = <0x069B>;
		rom_awb_sec2lsi_start_addr = <0x0064>;
		rom_awb_sec2lsi_end_addr = <0x006B>;
		rom_awb_sec2lsi_checksum_addr = <0x0070>;
		rom_awb_sec2lsi_checksum_len = <0xC>;
		rom_shading_sec2lsi_start_addr = <0x0074>;
		rom_shading_sec2lsi_end_addr = <0x1A5B>;
		rom_shading_sec2lsi_checksum_addr = <0x1A60>;
		rom_shading_sec2lsi_checksum_len = <0x19EC>;
		rom_factory_sec2lsi_start_addr = <0x1A64>;
	};

	is-actuator@0C { /* wide AF */
		compatible = "samsung,exynos-is-actuator-dw9818";
		sensor-module = <&is_sensor_2ld>;
		reg = <0x0C>;
		id = <0>; /* matching is_sensor id */
		vendor_first_pos = <512>; /* 10bits */
		vendor_first_delay = <20>;
		status = "okay";
	};
};

&exynos_is {
	pinctrl-names = "default";
	pinctrl-0 = <&cam_torch_en &cam_flash_en>;

	vender {
		use_module_check;
		check_sensor_vendor;
		aperture_sensor_index = <0>;
		mcu_sensor_index = <0>;
		skip_cal_loading;

		is_vendor_sensor_count = <4>;
		max_supported_camera = <4>;
		supported_cameraId = <0 1 58 60>;

		/*
		* Wide(0)
		* Front(1)
		* U Wide(2)
		* Front 80(3) - not available for factory
		* Front Secure(5) - not available for factory
		* DUAL_REAR_PORTRAIT_WIDE(23)
		* Bokeh(52)
		* Rear_UW(58)
		* Macro(60)
		*/

		/* sysfs camera id */
		max_camera_num = <5>;
		sensor_id { /* sensor position = <sensor_id> */
			0 = <52>;	/* S5K2LD */
			1 = <110>;	/* IMX258 */
			4 = <39>;	/* S5K4HA */
			6 = <214>;	/* GC02M1 */
		};

		camera_info0 {			/* 0 : sysfs rear */
			internal_id = <0>;	/* 0 : wide */
			isp = <0>;		/* 0 : INT, 1 : EXT, 2 : SOC */
			cal_memory = <2>;	/* 0 : N, 1 : FROM, 2 : EEPROM, 3 : OTP */
			read_version = <0>;	/* 0 : SYSFS, 1 : CAMON */
			core_voltage = <0>;	/* 0 : N, 1 : Y */
			upgrade = <0>;		/* 0 : N, 1 : SYSFS , 2 : CAMON */
			fw_write = <0>;		/* 0 : N, 1 : OS, 2 : SD, 3 : ALL */
			fw_dump = <0>;		/* 0 : N, 1 : Y */
			companion = <0>;	/* 0 : N, 1 : Y */
			ois = <0>;		/* 0 : N, 1 : Y */
			valid = <1>;		/* 0 : INVALID, 1 : VALID */
		};
		camera_info1 {			/* 1 : sysfs front */
			internal_id = <1>;	/* 1 : front */
			isp = <0>;		/* 0 : INT, 1 : EXT, 2 : SOC */
			cal_memory = <2>;	/* 0 : N, 1 : FROM, 2 : EEPROM, 3 : OTP */
			read_version = <0>;	/* 0 : SYSFS, 1 : CAMON */
			core_voltage = <0>;	/* 0 : N, 1 : Y */
			upgrade = <0>;		/* 0 : N, 1 : SYSFS, 2 : CAMON */
			fw_write = <0>;		/* 0 : N, 1 : OS, 2 : SD, 3 : ALL */
			fw_dump = <0>;		/* 0 : N, 1 : Y */
			companion = <0>;	/* 0 : N, 1 : Y */
			ois = <0>;		/* 0 : N, 1 : Y */
			valid = <1>;		/* 0 : INVALID, 1 : VALID */
		};
		camera_info2 {			/* 2 : sysfs rear2 */
			internal_id = <4>;	/* 2 : ultra wide */
			isp = <0>;		/* 0 : INT, 1 : EXT, 2 : SOC */
			cal_memory = <3>;	/* 0 : N, 1 : FROM, 2 : EEPROM, 3 : OTP */
			read_version = <0>;	/* 0 : SYSFS, 1 : CAMON */
			core_voltage = <0>;	/* 0 : N, 1 : Y */
			upgrade = <0>;		/* 0 : N, 1 : SYSFS, 2 : CAMON */
			fw_write = <0>;		/* 0 : N, 1 : OS, 2 : SD, 3 : ALL */
			fw_dump = <0>;		/* 0 : N, 1 : Y */
			companion = <0>;	/* 0 : N, 1 : Y */
			ois = <0>;		/* 0 : N, 1 : Y */
			valid = <1>;		/* 0 : INVALID, 1 : VALID */
		};
		camera_info4 {			/* 4 : sysfs rear4 */
			internal_id = <6>;	/* 4 : macro */
			isp = <0>;		/* 0 : INT, 1 : EXT, 2 : SOC */
			cal_memory = <2>;	/* 0 : N, 1 : FROM, 2 : EEPROM, 3 : OTP */
			read_version = <0>;	/* 0 : SYSFS, 1 : CAMON */
			core_voltage = <0>;	/* 0 : N, 1 : Y */
			upgrade = <0>;		/* 0 : N, 1 : SYSFS, 2 : CAMON */
			fw_write = <0>;		/* 0 : N, 1 : OS, 2 : SD, 3 : ALL */
			fw_dump = <0>;		/* 0 : N, 1 : Y */
			companion = <0>;	/* 0 : N, 1 : Y */
			ois = <0>;		/* 0 : N, 1 : Y */
			valid = <1>;		/* 0 : INVALID, 1 : VALID */
		};
	};

	is_dvfs {
		#define CPU_CL0	"0-3"
		#define CPU_CL1	"4-7"
		#define CPU_ALL	"0-7"

		table0 {
			desc = "dvfs table v0.2";

			default_csis = <1>;
			default_cam = <1>;
			default_isp = <1>;
			default_m2m = <1>;
			default_mif = <1>;
			default_int = <1>;
			default_cpu = CPU_CL0;

			rear_single_photo_isp = <6>;
			rear_single_photo_mif = <3>;
			rear_single_photo_cpu = CPU_CL0;

			rear_single_photo_full_mif = <3>;
			rear_single_photo_full_cpu = CPU_CL0;

			rear_single_video_hd30_isp = <5>;
			rear_single_video_hd30_mif = <3>;
			rear_single_video_hd30_cpu = CPU_CL0;

			rear_single_video_fhd30_isp = <5>;
			rear_single_video_fhd30_mif = <3>;
			rear_single_video_fhd30_cpu = CPU_CL0;

			rear_single_video_fhd60_isp = <3>;
			rear_single_video_fhd60_mif = <0>;
			rear_single_video_fhd60_cpu = CPU_CL0;

			rear_single_video_uhd30_isp = <5>;
			rear_single_video_uhd30_mif = <1>;
			rear_single_video_uhd30_cpu = CPU_CL0;

			rear_single_capture_cam = <1>;
			rear_single_capture_isp = <1>;
			rear_single_capture_mif = <0>;
			rear_single_capture_cpu = CPU_CL0;

			rear_single_video_fhd120_isp = <0>;
			rear_single_video_fhd120_m2m = <0>;
			rear_single_video_fhd120_mif = <0>;
			rear_single_video_fhd120_cpu = CPU_CL0;

			rear_single_video_hd240_isp = <6>;
			rear_single_video_hd240_m2m = <4>;
			rear_single_video_hd240_mif = <0>;
			rear_single_video_hd240_cpu = CPU_CL0;

			rear_single_ssm_isp = <6>;
			rear_single_ssm_m2m = <4>;
			rear_single_ssm_mif = <0>;
			rear_single_ssm_hpg = <6>;
			rear_single_ssm_cpu = CPU_CL0;

			rear_single_vt_isp = <5>;
			rear_single_vt_mif = <3>;
			rear_single_vt_cpu = CPU_CL0;

			rear_single_video_fhd30_supersteady_isp = <0>;
			rear_single_video_fhd30_supersteady_mif = <0>;
			rear_single_video_fhd30_supersteady_cpu = CPU_CL0;

			rear_single_remosaic_photo_isp = <6>;
			rear_single_remosaic_photo_mif = <3>;
			rear_single_remosaic_photo_cpu = CPU_CL0;

			rear_single_remosaic_capture_cam = <1>;
			rear_single_remosaic_capture_isp = <1>;
			rear_single_remosaic_capture_m2m = <4>;
			rear_single_remosaic_capture_mif = <0>;
			rear_single_remosaic_capture_cpu = CPU_CL0;

			rear_dual_wide_tele_photo_isp = <0>;
			rear_dual_wide_tele_photo_mif = <0>;
			rear_dual_wide_tele_photo_cpu = CPU_CL0;

			rear_dual_wide_tele_video_fhd30_isp = <0>;
			rear_dual_wide_tele_video_fhd30_mif = <0>;
			rear_dual_wide_tele_video_fhd30_cpu = CPU_CL0;

			rear_dual_wide_tele_video_uhd30_isp = <0>;
			rear_dual_wide_tele_video_uhd30_mif = <0>;
			rear_dual_wide_tele_video_uhd30_cpu = CPU_CL0;

			rear_dual_wide_tele_video_fhd60_isp = <0>;
			rear_dual_wide_tele_video_fhd60_mif = <0>;
			rear_dual_wide_tele_video_fhd60_cpu = CPU_CL0;

			rear_dual_wide_tele_capture_cam = <0>;
			rear_dual_wide_tele_capture_isp = <0>;
			rear_dual_wide_tele_capture_m2m = <0>;
			rear_dual_wide_tele_capture_mif = <0>;
			rear_dual_wide_tele_capture_cpu = CPU_CL0;

			rear_dual_wide_ultrawide_photo_isp = <3>;
			rear_dual_wide_ultrawide_photo_mif = <0>;
			rear_dual_wide_ultrawide_photo_cpu = CPU_CL0;

			rear_dual_wide_ultrawide_video_fhd30_isp = <0>;
			rear_dual_wide_ultrawide_video_fhd30_mif = <0>;
			rear_dual_wide_ultrawide_video_fhd30_cpu = CPU_CL0;

			rear_dual_wide_ultrawide_video_uhd30_isp = <0>;
			rear_dual_wide_ultrawide_video_uhd30_mif = <0>;
			rear_dual_wide_ultrawide_video_uhd30_cpu = CPU_CL0;

			rear_dual_wide_ultrawide_video_fhd60_isp = <0>;
			rear_dual_wide_ultrawide_video_fhd60_mif = <0>;
			rear_dual_wide_ultrawide_video_fhd60_cpu = CPU_CL0;

			rear_dual_wide_ultrawide_capture_cam = <1>;
			rear_dual_wide_ultrawide_capture_isp = <1>;
			rear_dual_wide_ultrawide_capture_m2m = <4>;
			rear_dual_wide_ultrawide_capture_mif = <0>;
			rear_dual_wide_ultrawide_capture_cpu = CPU_CL0;

			front_single_photo_isp = <6>;
			front_single_photo_mif = <3>;
			front_single_photo_cpu = CPU_CL0;

			front_single_photo_full_mif = <3>;
			front_single_photo_full_cpu = CPU_CL0;

			front_single_video_hd30_isp = <6>;
			front_single_video_hd30_mif = <3>;
			front_single_video_hd30_cpu = CPU_CL0;

			front_single_video_fhd30_isp = <6>;
			front_single_video_fhd30_mif = <3>;
			front_single_video_fhd30_cpu = CPU_CL0;

			front_single_video_uhd30_isp = <6>;
			front_single_video_uhd30_mif = <1>;
			front_single_video_uhd30_cpu = CPU_CL0;

			front_single_video_fhd60_isp = <5>;
			front_single_video_fhd60_mif = <0>;
			front_single_video_fhd60_cpu = CPU_CL0;

			front_single_capture_csis = <5>;
			front_single_capture_cam = <1>;
			front_single_capture_isp = <1>;
			front_single_capture_m2m = <4>;
			front_single_capture_mif = <0>;
			front_single_capture_cpu = CPU_CL0;

			front_single_vt_isp = <5>;
			front_single_vt_mif = <3>;
			front_single_vt_cpu = CPU_CL0;

			front_single_video_hd120_isp = <2>;
			front_single_video_hd120_m2m = <4>;
			front_single_video_hd120_mif = <0>;
			front_single_video_hd120_hpg = <0>;
			front_single_video_hd120_cpu = CPU_CL0;

			front_single_remosaic_photo_isp = <6>;
			front_single_remosaic_photo_mif = <3>;
			front_single_remosaic_photo_cpu = CPU_CL0;

			front_single_remosaic_capture_cam = <1>;
			front_single_remosaic_capture_isp = <1>;
			front_single_remosaic_capture_m2m = <4>;
			front_single_remosaic_capture_mif = <0>;
			front_single_remosaic_capture_cpu = CPU_CL0;

			rear_single_wide_fastae_cam = <5>;
			rear_single_wide_fastae_isp = <5>;
			rear_single_wide_fastae_m2m = <4>;
			rear_single_wide_fastae_mif = <1>;
			rear_single_wide_fastae_cpu = CPU_CL0;

			front_single_fastae_cam = <5>;
			front_single_fastae_csis = <5>;
			front_single_fastae_isp = <5>;
			front_single_fastae_m2m = <4>;
			front_single_fastae_mif = <1>;
			front_single_fastae_cpu = CPU_CL0;

			pip_dual_photo_isp = <0>;
			pip_dual_photo_mif = <0>;
			pip_dual_photo_cpu = CPU_CL0;

			pip_dual_capture_cam = <0>;
			pip_dual_capture_isp = <0>;
			pip_dual_capture_m2m = <0>;
			pip_dual_capture_mif = <0>;
			pip_dual_capture_cpu = CPU_CL0;

			pip_dual_video_fhd30_isp = <0>;
			pip_dual_video_fhd30_mif = <0>;
			pip_dual_video_fhd30_cpu = CPU_CL0;

			sensor_only_rear_single_cam = <1>;
			sensor_only_rear_single_csis = <1>;
			sensor_only_rear_single_isp = <1>;
			sensor_only_rear_single_m2m = <1>;
			sensor_only_rear_single_mif = <1>;
			sensor_only_rear_single_int = <1>;
			sensor_only_rear_single_cpu = CPU_CL0;

			sensor_only_front_cam = <1>;
			sensor_only_front_csis = <1>;
			sensor_only_front_isp = <1>;
			sensor_only_front_m2m = <1>;
			sensor_only_front_mif = <1>;
			sensor_only_front_int = <1>;
			sensor_only_front_cpu = CPU_CL0;

			throttling_cam = <0>;
			throttling_csis = <0>;
			throttling_isp = <0>;
			throttling_m2m = <0>;
			throttling_mif = <0>;
			throttling_int = <0>;
			throttling_hpg = <0>;
			throttling_cpu = CPU_CL0;

			max_cam = <1>;
			max_csis = <1>;
			max_isp = <1>;
			max_m2m = <1>;
			max_mif = <1>;
			max_int = <1>;
			max_cpu = CPU_CL0;
		};
	};
};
